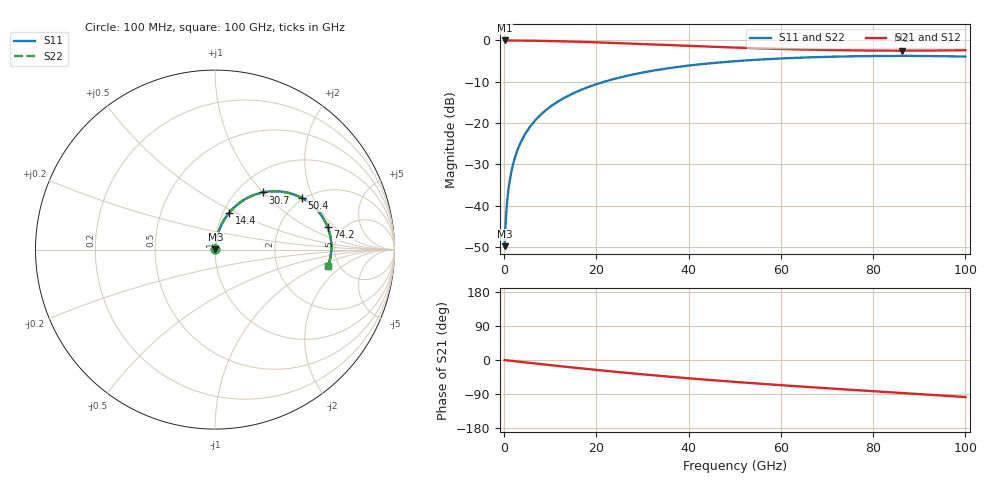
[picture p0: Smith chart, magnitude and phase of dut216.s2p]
! Touchstone file exported from HFSS 2026.1.0
!  File:  C:/ffzhzh/LocalFiles/Ansys_Project_Files/temp_train_RDL_216_1783500920_9504.aedt
!  Generated:  04:56:27 PM Jul  8, 2026
!  Design:  RDL
!  Project:  temp_train_RDL_216_1783500920_9504
! Variables:
!  h_bsmrdl = 2um
!  h_ox = 20um
!  h_rdl = 5um
!  h_sub = 80um
!  h_tmrdl = 3.08um
!  h_tsv = 80um
!  h_via = 3um
!  l_bsmrdl = 300um
!  l_sub = 724.43um
!  l_tmrdl = 324.43um
!  m_sub = 200um
!  pitch = 43.6um
!  r_tsv = 6um
!  s_tmrdl = 10um
!  w_bsmrdl = 18um
!  w_sub = 500um
!  w_tmrdl = 14.36um
!  x_tsv_center1 = 331.61um
!  x_tsv_center2 = 649.61um
!  x_tsv_center3 = 988.4um
!  x_tsv_center4 = 1306.4um
!  x_tsv_center5 = 1645.19um
!  x_tsv_center6 = 1963.19um
# GHz S MA R 50.000000
! Terminal data exported
! Port[1] = TM_RDL1_1_T1
! Port[2] = TM_RDL1_1_T2
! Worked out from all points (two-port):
!   1000 points, 100 MHz to 100 GHz, reference 50 ohm
!   highest |S21| = -0.02 dB at 100 MHz (marker M1); lowest = -2.5 dB at 86.3 GHz (marker M2)
!   |S21| within 3 dB of the highest: start of sweep to end of sweep
!   lowest |S11| = -49.8 dB at 100 MHz (marker M3), VSWR 1.01, Z = 50.3 + j0.173 ohm
!   |S11| at or under -10 dB: start of sweep to 21.69 GHz
!   |S22| runs from -49.8 to -3.8 dB; largest |S21 - S12| = 7.4e-15
!   S11 on the Smith chart (normalised r, x): 100 MHz: 1.01, +0.00; 14.4 GHz: 1.07, +0.46; 30.7 GHz: 1.29, +1.00; 50.4 GHz: 1.95, +1.64; 74.2 GHz: 3.80, +1.64; 100 GHz: 4.11, -1.24
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0.1  0.00325 32.0  0.9972 -0.1  0.9972 -0.1  0.00325 32.0
! Gamma 0 0 0 0
! Port Impedance 50 0 50 0
0.4  0.007398 66.1  0.997 -0.6  0.997 -0.6  0.007398 66.1
0.9  0.01526 76.7  0.9967 -1.3  0.9967 -1.3  0.01526 76.7
1.4  0.02322 79.8  0.9964 -1.9  0.9964 -1.9  0.02322 79.8
1.9  0.03123 81.0  0.9961 -2.6  0.9961 -2.6  0.03123 81.0
2.4  0.03925 81.5  0.9957 -3.3  0.9957 -3.3  0.03925 81.5
3.7  0.06007 81.2  0.9943 -5.1  0.9943 -5.1  0.06007 81.2
5.5  0.08859 79.6  0.9917 -7.5  0.9917 -7.5  0.08859 79.6
7.9  0.1258 76.9  0.9868 -10.8  0.9868 -10.8  0.1258 76.9
10.8  0.1694 73.3  0.9793 -14.6  0.9793 -14.6  0.1694 73.3
14.4  0.221 68.9  0.9679 -19.2  0.9679 -19.2  0.221 68.9
16.8  0.2537 66.0  0.9592 -22.2  0.9592 -22.2  0.2537 65.9
23.1  0.3331 58.5  0.9337 -29.9  0.9337 -29.9  0.3331 58.5
30.7  0.4152 50.1  0.8998 -38.5  0.8998 -38.5  0.4152 50.1
33.4  0.4407 47.3  0.8875 -41.5  0.8875 -41.5  0.4407 47.2
50.1  0.5601 31.2  0.818 -57.8  0.818 -57.8  0.5601 31.2
50.4  0.5617 30.9  0.8169 -58.1  0.8169 -58.1  0.5617 30.9
66.7  0.6245 17.3  0.771 -71.9  0.771 -71.9  0.6245 17.3
74.2  0.6397 11.5  0.7587 -77.8  0.7587 -77.8  0.6397 11.5
83.4  0.6483 4.5  0.7516 -84.9  0.7516 -84.9  0.6483 4.5
86.3  0.6488 2.3  0.7512 -87.2  0.7512 -87.2  0.6488 2.3
100  0.6367 -8.1  0.761 -97.8  0.761 -97.8  0.6367 -8.1
